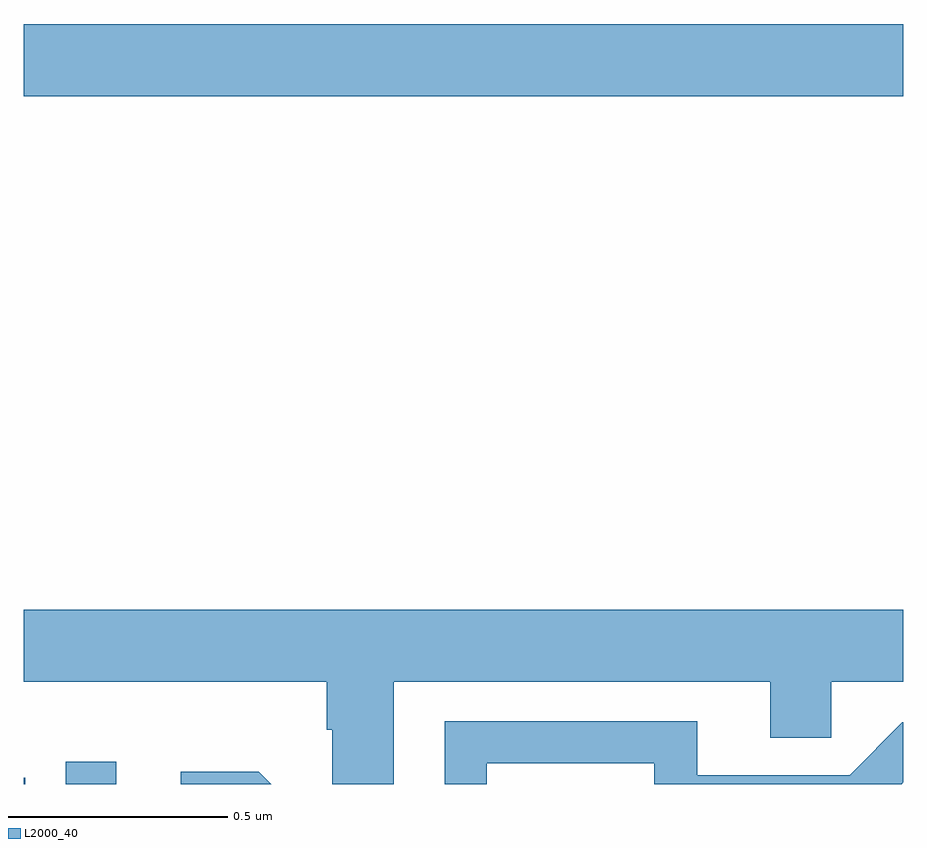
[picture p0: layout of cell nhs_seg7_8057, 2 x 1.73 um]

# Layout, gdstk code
import gdstk
lib = gdstk.Library(unit=1e-6, precision=1e-09)
def R(c, l, rs):  # rectangles x0, y0, x1, y1
    for r in rs: c.add(gdstk.rectangle(r[:2], r[2:], *l))
def P(c, l, *ps):  # polygons
    for p in ps: c.add(gdstk.Polygon(p, *l))
L2000_40 = (2000, 40)

nhs_seg7_8057 = lib.new_cell('nhs_seg7_8057')
R(nhs_seg7_8057, L2000_40, [(219,1051,219.003,1051.014), (219.096,1051,219.211,1051.051), (219,1052.564,221,1052.728)])
P(nhs_seg7_8057, L2000_40, [(219,1051.232),(219.689,1051.232),(219.689,1051.123),(219.702,1051.123),(219.702,1051),(219.841,1051),(219.841,1051.232),(220.697,1051.232),(220.697,1051.105),(220.836,1051.105),(220.836,1051.232),(221,1051.232),(221,1051.396),(219,1051.396)],
  [(220.053,1051.047),(220.434,1051.047),(220.434,1051),(220.996,1051),(221,1051.004),(221,1051.14),(220.998,1051.14),(220.878,1051.02),(220.531,1051.02),(220.531,1051.143),(219.957,1051.143),(219.957,1051),(220.053,1051)],
  [(219.535,1051.028),(219.357,1051.028),(219.357,1051),(219.563,1051)])

lib.write_gds('nhs_seg7_8057.gds')
